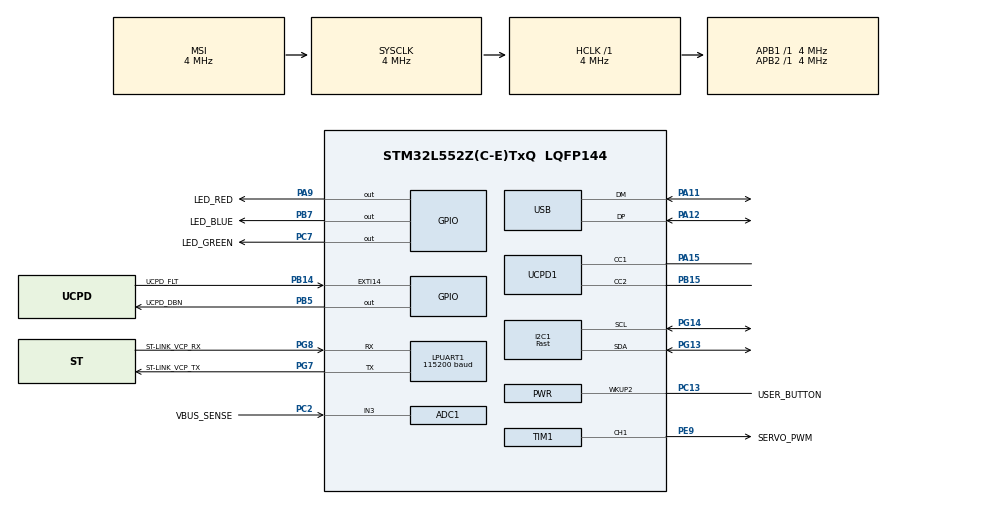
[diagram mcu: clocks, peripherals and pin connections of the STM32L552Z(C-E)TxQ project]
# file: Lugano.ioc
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ADC1.Channel-0\#ChannelRegularConversion=ADC_CHANNEL_3
ADC1.NbrOfConversionFlag=1
ADC1.OffsetNumber-0\#ChannelRegularConversion=ADC_OFFSET_NONE
ADC1.Rank-0\#ChannelRegularConversion=1
ADC1.SamplingTime-0\#ChannelRegularConversion=ADC_SAMPLETIME_2CYCLES_5
ADC1.master=1
I2C1.CustomTiming=Disabled
I2C1.I2C_Speed_Mode=I2C_Fast
I2C1.Timing=0x00000004
LPUART1.BaudRate=115200
Mcu.Family=STM32L5
Mcu.Name=STM32L552Z(C-E)TxQ
Mcu.Package=LQFP144
Mcu.TrustZone=disable
NVIC.PriorityGroup=NVIC_PRIORITYGROUP_3
PA11.Mode=Device
PA11.Signal=USB_DM
PA12.Mode=Device
PA12.Signal=USB_DP
PA13\ (JTMS/SWDIO).Mode=Trace_Asynchronous_SW
PA13\ (JTMS/SWDIO).Signal=DEBUG_JTMS-SWDIO
PA14\ (JTCK/SWCLK).Mode=Trace_Asynchronous_SW
PA14\ (JTCK/SWCLK).Signal=DEBUG_JTCK-SWCLK
PA15\ (JTDI).Mode=Source_AllSignals
PA15\ (JTDI).Signal=UCPD1_CC1
PA9.GPIO_Label=LED_RED
PA9.Signal=GPIO_Output
PB14.GPIO_Label=UCPD_FLT
PB14.Signal=GPXTI14
PB15.Mode=Source_AllSignals
PB15.Signal=UCPD1_CC2
PB3\ (JTDO/TRACESWO).Mode=Trace_Asynchronous_SW
PB3\ (JTDO/TRACESWO).Signal=DEBUG_JTDO-SWO
PB5.GPIO_Label=UCPD_DBN
PB5.Signal=GPIO_Output
PB7.GPIO_Label=LED_BLUE
PB7.Signal=GPIO_Output
PC13.GPIO_Label=USER_BUTTON
PC13.Mode=WakeUp1
PC13.Signal=PWR_WKUP2
PC14-OSC32_IN\ (PC14).Mode=LSE-External-Oscillator
PC14-OSC32_IN\ (PC14).Signal=RCC_OSC32_IN
PC15-OSC32_OUT\ (PC15).Mode=LSE-External-Oscillator
PC15-OSC32_OUT\ (PC15).Signal=RCC_OSC32_OUT
PC2.GPIO_Label=VBUS_SENSE
PC2.Signal=ADCx_IN3
PC7.GPIO_Label=LED_GREEN
PC7.Signal=GPIO_Output
PE9.GPIO_Label=SERVO_PWM
PE9.Signal=S_TIM1_CH1
PG13.Mode=I2C
PG13.Signal=I2C1_SDA
PG14.Mode=I2C
PG14.Signal=I2C1_SCL
PG7.GPIO_Label=ST-LINK_VCP_TX
PG7.Mode=Asynchronous
PG7.Signal=LPUART1_TX
PG8.GPIO_Label=ST-LINK_VCP_RX
PG8.Mode=Asynchronous
PG8.Signal=LPUART1_RX
ProjectManager.HeapSize=0x200
ProjectManager.StackSize=0x400
ProjectManager.TargetToolchain=STM32CubeIDE
RCC.ADCCLockSelection=RCC_ADCCLKSOURCE_SYSCLK
RCC.ADCFreq_Value=4000000
RCC.AHBFreq_Value=4000000
RCC.APB1Freq_Value=4000000
RCC.APB1TimFreq_Value=4000000
RCC.APB2Freq_Value=4000000
RCC.APB2TimFreq_Value=4000000
RCC.CK48CLockSelection=RCC_USBCLKSOURCE_HSI48
RCC.CortexFreq_Value=4000000
RCC.HCLKFreq_Value=4000000
RCC.HSE_VALUE=8000000
RCC.HSI48_VALUE=48000000
RCC.HSI_VALUE=16000000
RCC.MSI_VALUE=4000000
RCC.PLLN=55
RCC.PLLSAI1N=24
RCC.RTCClockSelection=RCC_RTCCLKSOURCE_LSE
RCC.SYSCLKFreq_VALUE=4000000
RCC.USBFreq_Value=48000000
RCC.VCOOutputFreq_Value=220000000
SH.ADCx_IN3.0=ADC1_IN3,IN3-Single-Ended
SH.S_TIM1_CH1.0=TIM1_CH1,PWM Generation1 CH1
TIM1.Channel-PWM\ Generation1\ CH1=TIM_CHANNEL_1
TIM1.Period=80-1
TIM1.Prescaler=0
VP_PWR_VS_DBSignals.Mode=DisableDeadBatterySignals
VP_RTC_VS_RTC_Activate.Mode=RTC_Enabled
VP_TIM1_VS_ClockSourceINT.Mode=Internal
board=NUCLEO-L552ZE-Q

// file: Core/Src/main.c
/* USER CODE BEGIN Header */
/**
  ******************************************************************************
  * @file           : main.c
  * @brief          : Main program body
  ******************************************************************************
  * @attention
  *
  * Copyright (c) 2023 STMicroelectronics.
  * All rights reserved.
  *
  * This software is licensed under terms that can be found in the LICENSE file
  * in the root directory of this software component.
  * If no LICENSE file comes with this software, it is provided AS-IS.
  *
  ******************************************************************************
  */
/* USER CODE END Header */
#include "main.h"
#include "adc.h"
#include "i2c.h"
#include "usart.h"
#include "rtc.h"
#include "tim.h"
#include "ucpd.h"
#include "usb.h"
#include "gpio.h"

/* USER CODE BEGIN Includes */
#include <stdio.h>
#include "mpu6050.h"
/* USER CODE END Includes */

/* USER CODE BEGIN PV */
MPU6050_t MPU6050;
/* USER CODE END PV */

void SystemClock_Config(void);
/* USER CODE BEGIN PFP */
#ifdef __GNUC__
#define PUTCHAR_PROTOTYPE int __io_putchar(int ch)
#else
#define PUTCHAR_PROTOTYPE int fputc(int ch, FILE *f)
#endif

PUTCHAR_PROTOTYPE
{
    HAL_UART_Transmit(&hlpuart1, (uint8_t *)&ch, 1, HAL_MAX_DELAY);
    return ch;
}
/* USER CODE END PFP */

int main(void)
{

  /* MCU Configuration--------------------------------------------------------*/

  /* Reset of all peripherals, Initializes the Flash interface and the Systick. */
  HAL_Init();

  /* Configure the system clock */
  SystemClock_Config();

  /* Initialize all configured peripherals */
  MX_GPIO_Init();
  MX_ADC1_Init();
  MX_LPUART1_UART_Init();
  MX_RTC_Init();
  MX_UCPD1_Init();
  MX_USB_PCD_Init();
  MX_I2C1_Init();
  MX_TIM1_Init();
  /* USER CODE BEGIN 2 */
  while (MPU6050_Init(&hi2c1) == 1);
  HAL_TIM_PWM_Start(&htim1, TIM_CHANNEL_1);
  /* USER CODE END 2 */

  /* Infinite loop */
  /* USER CODE BEGIN WHILE */
  int servo = 1;
  while (1)
  {
    htim1.Instance->CCR1 = servo;

    MPU6050_Read_All(&hi2c1, &MPU6050);
    printf("gyro: %f, %f\r\n", MPU6050.KalmanAngleX, MPU6050.KalmanAngleY);
    /* USER CODE END WHILE */

    /* USER CODE BEGIN 3 */
    HAL_Delay(500);
  }
  /* USER CODE END 3 */
}

void SystemClock_Config(void)
{
  RCC_OscInitTypeDef RCC_OscInitStruct = {0};
  RCC_ClkInitTypeDef RCC_ClkInitStruct = {0};

  /** Configure the main internal regulator output voltage
  */
  if (HAL_PWREx_ControlVoltageScaling(PWR_REGULATOR_VOLTAGE_SCALE2) != HAL_OK)
  {
    Error_Handler();
  }

  /** Configure LSE Drive Capability
  */
  HAL_PWR_EnableBkUpAccess();
  __HAL_RCC_LSEDRIVE_CONFIG(RCC_LSEDRIVE_LOW);

  /** Initializes the RCC Oscillators according to the specified parameters
  * in the RCC_OscInitTypeDef structure.
  */
  RCC_OscInitStruct.OscillatorType = RCC_OSCILLATORTYPE_HSI48|RCC_OSCILLATORTYPE_LSE
                              |RCC_OSCILLATORTYPE_MSI;
  RCC_OscInitStruct.LSEState = RCC_LSE_ON;
  RCC_OscInitStruct.HSI48State = RCC_HSI48_ON;
  RCC_OscInitStruct.MSIState = RCC_MSI_ON;
  RCC_OscInitStruct.MSICalibrationValue = RCC_MSICALIBRATION_DEFAULT;
  RCC_OscInitStruct.MSIClockRange = RCC_MSIRANGE_6;
  RCC_OscInitStruct.PLL.PLLState = RCC_PLL_NONE;
  if (HAL_RCC_OscConfig(&RCC_OscInitStruct) != HAL_OK)
  {
    Error_Handler();
  }

  /** Initializes the CPU, AHB and APB buses clocks
  */
  RCC_ClkInitStruct.ClockType = RCC_CLOCKTYPE_HCLK|RCC_CLOCKTYPE_SYSCLK
                              |RCC_CLOCKTYPE_PCLK1|RCC_CLOCKTYPE_PCLK2;
  RCC_ClkInitStruct.SYSCLKSource = RCC_SYSCLKSOURCE_MSI;
  RCC_ClkInitStruct.AHBCLKDivider = RCC_SYSCLK_DIV1;
  RCC_ClkInitStruct.APB1CLKDivider = RCC_HCLK_DIV1;
  RCC_ClkInitStruct.APB2CLKDivider = RCC_HCLK_DIV1;

  if (HAL_RCC_ClockConfig(&RCC_ClkInitStruct, FLASH_LATENCY_0) != HAL_OK)
  {
    Error_Handler();
  }
}

void Error_Handler(void)
{
  __disable_irq();
  while (1)
  {
  }
}
